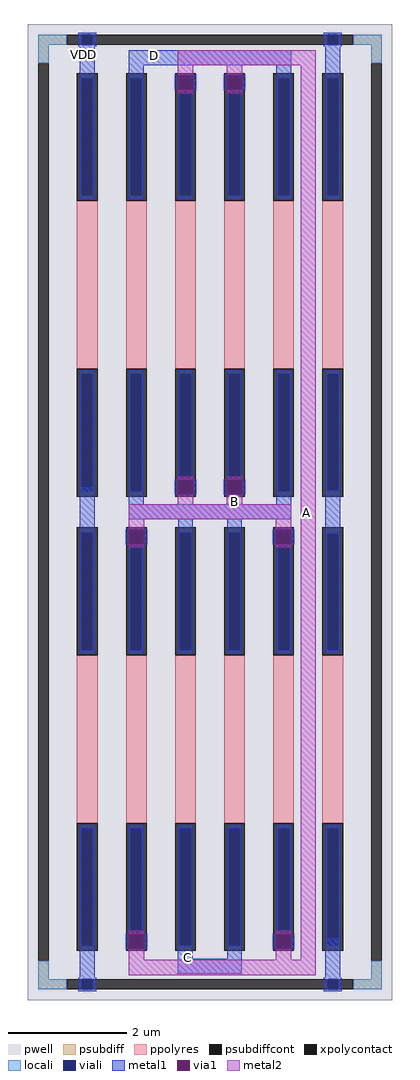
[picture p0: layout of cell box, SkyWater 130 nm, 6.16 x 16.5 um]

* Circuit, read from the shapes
.subckt box A B C D VDD
XR1 n1 VDD VDD sky130_fd_pr__res_high_po w=0.35 l=2.84 m=2
XR2 B A VDD sky130_fd_pr__res_high_po w=0.35 l=2.84 m=4
XR3 D n2 VDD sky130_fd_pr__res_high_po w=0.35 l=2.84 m=2
XR4 n2 C VDD sky130_fd_pr__res_high_po w=0.35 l=2.84 m=2
XR5 n3 VDD VDD sky130_fd_pr__res_high_po w=0.35 l=2.84 m=2
.ends

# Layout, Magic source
magic
tech sky130A
magscale 1 2
<< viali >>
rect -259 5446 -221 5480
rect 571 5446 609 5480
rect -259 2252 -221 2286
rect 571 2252 609 2286
<< metal1 >>
rect -271 5480 -209 5486
rect -271 5446 -259 5480
rect -221 5446 -209 5480
rect -271 5440 -209 5446
rect 559 5480 621 5486
rect 559 5446 571 5480
rect 609 5446 621 5480
rect 559 5440 621 5446
rect -265 5334 -215 5440
rect -99 5377 449 5427
rect -99 5332 -49 5377
rect 56 5292 66 5344
rect 118 5292 128 5344
rect 222 5292 232 5344
rect 284 5292 294 5344
rect 399 5332 449 5377
rect 565 5339 615 5440
rect -265 3803 -215 3950
rect 56 3924 66 3976
rect 118 3924 128 3976
rect 222 3924 232 3976
rect 284 3924 294 3976
rect -99 3892 -49 3924
rect 399 3892 449 3927
rect -99 3842 449 3892
rect -110 3756 -100 3808
rect -48 3756 -38 3808
rect 67 3802 117 3842
rect 233 3798 283 3842
rect 388 3756 398 3808
rect 450 3756 460 3808
rect 565 3792 615 3939
rect -265 2292 -215 2399
rect -110 2388 -100 2440
rect -48 2388 -38 2440
rect 66 2355 116 2400
rect 233 2355 283 2400
rect 388 2388 398 2440
rect 450 2388 460 2440
rect 66 2305 283 2355
rect 565 2292 615 2425
rect -271 2286 -209 2292
rect -271 2252 -259 2286
rect -221 2252 -209 2286
rect -271 2246 -209 2252
rect 559 2286 621 2292
rect 559 2252 571 2286
rect 609 2252 621 2286
rect 559 2246 621 2252
<< via1 >>
rect 66 5292 118 5344
rect 232 5292 284 5344
rect 66 3924 118 3976
rect 232 3924 284 3976
rect -100 3756 -48 3808
rect 398 3756 450 3808
rect -100 2388 -48 2440
rect 398 2388 450 2440
<< metal2 >>
rect 66 5376 533 5428
rect 66 5344 118 5376
rect 66 5282 118 5292
rect 232 5344 284 5376
rect 232 5282 284 5292
rect 66 3976 118 3986
rect 66 3893 118 3924
rect 232 3976 284 3986
rect 232 3893 284 3924
rect -100 3841 450 3893
rect -100 3808 -48 3841
rect -100 3746 -48 3756
rect 398 3808 450 3841
rect 398 3746 450 3756
rect -100 2440 -48 2450
rect -100 2352 -48 2388
rect 398 2440 450 2450
rect 398 2352 450 2388
rect 481 2352 533 5376
rect -100 2300 533 2352
use sky130_fd_pr__res_high_po_0p35_4E8R5J  sky130_fd_pr__res_high_po_0p35_4E8R5J_0
transform 1 0 175 0 1 3866
box -616 -1650 616 1650
<< labels >>
flabel metal2 501 3866 501 3866 0 FreeSans 160 0 0 0 A
port 0 nsew
flabel metal2 259 3901 259 3901 0 FreeSans 160 0 0 0 B
port 1 nsew
flabel metal1 98 2361 98 2361 0 FreeSans 160 0 0 0 C
port 2 nsew
flabel metal1 -11 5410 -11 5410 0 FreeSans 160 0 0 0 D
port 4 nsew
flabel metal1 -254 5412 -254 5412 0 FreeSans 160 0 0 0 VDD
port 5 nsew
<< end >>

# cell sky130_fd_pr__res_high_po_0p35_4E8R5J: kit device sky130_fd_pr__res_high_po_0p35, w 0.350 l 3 m 2 nx 6 wmin 0.350 lmin 0.50 rho 319.8 val 3.854k dummy 0 dw 0.0 term 194.82 sterm 0.0 caplen 0 guard 1 glc 1 grc 1 gtc 1 gbc 1 compatible {sky130_fd_pr__res_high_po_0p35 sky130_fd_pr__res_high_po_0p69 sky130_fd_pr__res_high_po_1p41 sky130_fd_pr__res_high_po_2p85 sky130_fd_pr__res_high_po_5p73} snake 0 full_metal 1 wmax 0.350 vias 1 n_guard 0 hv_guard 0 viagb 0 viagt 0 viagl 0 viagr 0
